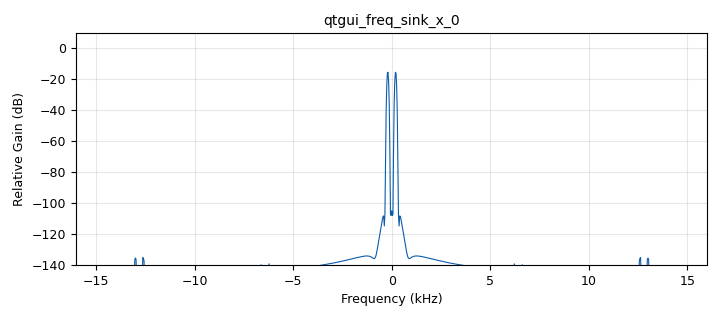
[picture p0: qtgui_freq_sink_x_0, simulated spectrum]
options:
  parameters:
    author: OWATT
    generate_options: qt_gui
    id: peak_testing
    output_language: python
    title: Not titled yet
  states: {}

blocks:
- name: fft_size
  id: variable
  parameters:
    value: '1024'
  states: {}
- name: samp_rate
  id: variable
  parameters:
    value: '32000'
  states: {}
- name: analog_sig_source_x_0
  id: analog_sig_source_x
  parameters:
    amp: '1'
    freq: '200'
    offset: '0'
    phase: '0'
    samp_rate: samp_rate
    type: float
    waveform: analog.GR_COS_WAVE
  states: {}
- name: analog_sig_source_x_1
  id: analog_sig_source_x
  parameters:
    amp: '1'
    freq: '500'
    offset: '0'
    phase: '0'
    samp_rate: samp_rate
    type: complex
    waveform: analog.GR_COS_WAVE
  states: {state: disabled}
- name: audio_source_0
  id: audio_source
  parameters:
    samp_rate: samp_rate
  states: {state: disabled}
- name: blocks_stream_to_vector_0
  id: blocks_stream_to_vector
  parameters:
    num_items: fft_size
    type: float
  states: {}
- name: epy_block_0
  id: epy_block
  parameters:
    _source_code: |-
      """
      Embedded Python Blocks:

      Each time this file is saved, GRC will instantiate the first class it finds
      to get ports and parameters of your block. The arguments to __init__  will
      be the parameters. All of them are required to have default values!
      """

      import numpy as np
      from gnuradio import gr


      class blk(gr.sync_block):  # other base classes are basic_block, decim_block, interp_block
          """Embedded Python Block example - a simple multiply const"""

          def __init__(self, samp_rate = 1024, fft_size = 1024):  # only default arguments here
              """arguments to this function show up as parameters in GRC"""
              gr.sync_block.__init__(
                  self,
                  name='Custom Peak Detector',   # will show up in GRC
                  in_sig=[(np.complex64, fft_size)],
                  out_sig=[np.float32]
              )
              # if an attribute with the same name as a parameter is found,
              # a callback is registered (properties work, too).
              self.samp_rate = samp_rate
              self.fft_size = fft_size


          def work(self, input_items, output_items):
              """example: multiply with constant"""
              # mag = np.abs(self.fft_data) / self.fft_size
              freqs = np.fft.fftfreq(self.fft_size, d = 1 / self.samp_rate)
              amplitude = np.abs(input_items[:][0])
              max_amplitude = np.argmax(amplitude)
              peak_freq = freqs[max_amplitude]
              output_items[0][:] = peak_freq * np.ones(input_items[0].shape[0])

              return len(output_items[0][:])
              # return peak_freq * input_items.shape[0]
    fft_size: '1024'
    samp_rate: samp_rate
  states: {}
- name: fft_vxx_0
  id: fft_vxx
  parameters:
    fft_size: fft_size
    forward: 'True'
    shift: 'False'
    type: float
    window: window.blackmanharris(1024)
  states: {}
- name: filerepeater_msg_to_file_0
  id: filerepeater_msg_to_file
  parameters:
    file: ''
    overwrite: 'False'
    timestamp: 'False'
  states: {state: disabled}
- name: qtgui_freq_sink_x_0
  id: qtgui_freq_sink_x
  parameters:
    bw: samp_rate
    fc: '0'
    fftsize: '1024'
    type: float
  states: {}
- name: qtgui_time_sink_x_0
  id: qtgui_time_sink_x
  parameters:
    size: '1024'
    srate: samp_rate
    type: float
  states: {}
- name: radar_find_max_peak_c_0
  id: radar_find_max_peak_c
  parameters:
    cut_max_freq: 'False'
    len_key: '"packet_len"'
    samp_protect: '500'
    samp_rate: samp_rate
    threshold: '-90'
  states: {state: disabled}

connections:
- [analog_sig_source_x_0, '0', blocks_stream_to_vector_0, '0']
- [analog_sig_source_x_0, '0', qtgui_freq_sink_x_0, '0']
- [analog_sig_source_x_1, '0', radar_find_max_peak_c_0, '0']
- [audio_source_0, '0', blocks_stream_to_vector_0, '0']
- [audio_source_0, '0', qtgui_freq_sink_x_0, '0']
- [blocks_stream_to_vector_0, '0', fft_vxx_0, '0']
- [epy_block_0, '0', qtgui_time_sink_x_0, '0']
- [fft_vxx_0, '0', epy_block_0, '0']
- [radar_find_max_peak_c_0, Msg out, filerepeater_msg_to_file_0, msg]

metadata:
  file_format: 1
  grc_version: 3.10.9.2
